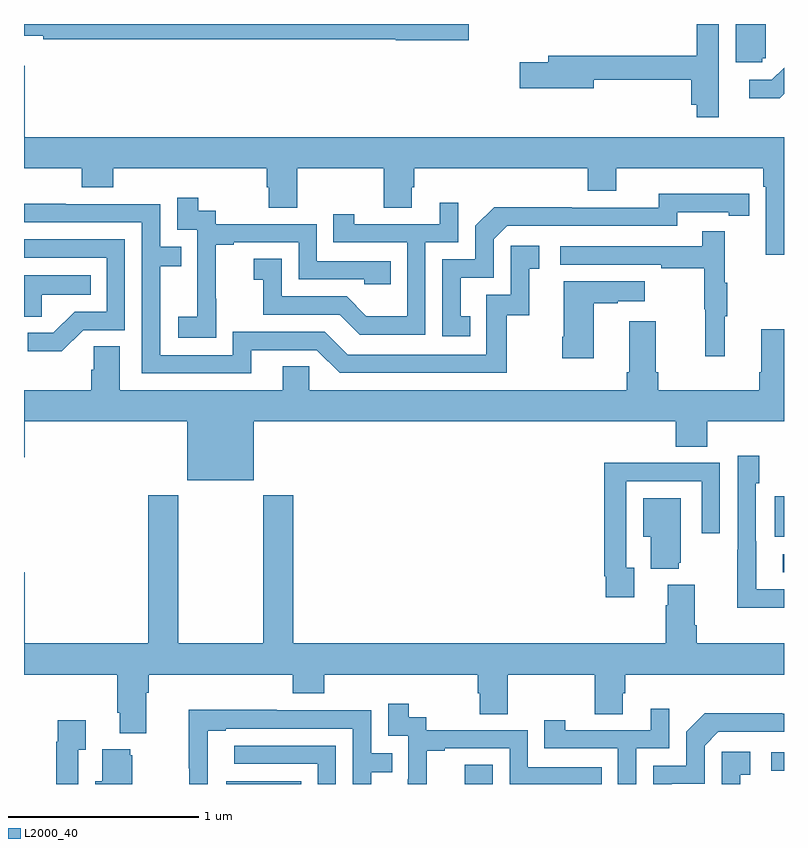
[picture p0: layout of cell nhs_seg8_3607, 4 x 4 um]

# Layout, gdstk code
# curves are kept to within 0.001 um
import gdstk
lib = gdstk.Library(unit=1e-6, precision=1e-09)
def R(c, l, rs):  # rectangles x0, y0, x1, y1
    for r in rs: c.add(gdstk.rectangle(r[:2], r[2:], *l))
def P(c, l, *ps):  # polygons
    for p in ps: c.add(gdstk.Polygon(p, *l))
L2000_40 = (2000, 40)

nhs_seg8_3607 = lib.new_cell('nhs_seg8_3607')
R(nhs_seg8_3607, L2000_40, [(334.064,1139.9,334.46,1139.914), (335.319,1139.9,335.466,1140.001), (336.933,1139.97,337,1140.066), (336.993,1141.014,337,1141.11), (336.95,1141.202,337,1141.414)])
P(nhs_seg8_3607, L2000_40, [(336.657,1143.9),(336.541,1143.9),(336.541,1143.734),(335.759,1143.734),(335.759,1143.698),(335.61,1143.698),(335.61,1143.563),(335.998,1143.563),(335.998,1143.606),(336.512,1143.606),(336.512,1143.476),(336.541,1143.476),(336.541,1143.408),(336.657,1143.408)],
  [(336.885,1143.72),(336.904,1143.72),(336.904,1143.9),(336.746,1143.9),(336.746,1143.699),(336.885,1143.699)],
  [(335.341,1143.9),(333,1143.9),(333,1143.839),(333.1,1143.839),(333.1,1143.82),(334.956,1143.82),(334.956,1143.815),(335.341,1143.815)],
  [(337,1143.304),(333.004,1143.304),(333.004,1143.679),(333,1143.679),(333,1143.14),(333.305,1143.14),(333.305,1143.041),(333.47,1143.041),(333.47,1143.14),(334.277,1143.14),(334.277,1143.042),(334.289,1143.042),(334.289,1142.932),(334.437,1142.932),(334.437,1143.14),(334.894,1143.14),(334.894,1142.932),(335.041,1142.932),(335.041,1143.042),(335.054,1143.042),(335.054,1143.14),(335.966,1143.14),(335.966,1143.023),(336.118,1143.023),(336.118,1143.14),(336.89,1143.14),(336.89,1143.044),(336.903,1143.044),(336.903,1142.685),(337,1142.685)],
  [(337,1143.532),(337,1143.67),(336.936,1143.606),(336.816,1143.606),(336.816,1143.509),(336.977,1143.509)],
  [(335.348,1142.361),(335.299,1142.361),(335.299,1142.565),(335.472,1142.565),(335.472,1142.766),(335.544,1142.838),(336.438,1142.838),(336.438,1142.91),(336.71,1142.91),(336.71,1142.89),(336.818,1142.89),(336.818,1143.006),(336.342,1143.007),(336.342,1142.934),(335.882,1142.934),(335.882,1142.936),(335.474,1142.936),(335.376,1142.838),(335.376,1142.661),(335.202,1142.661),(335.202,1142.256),(335.348,1142.256)],
  [(334.011,1142.455),(334.01,1142.455),(334.01,1142.739),(334.105,1142.739),(334.105,1142.751),(334.446,1142.751),(334.446,1142.556),(334.791,1142.556),(334.791,1142.529),(334.931,1142.529),(334.931,1142.652),(334.542,1142.652),(334.542,1142.847),(334.008,1142.847),(334.008,1142.916),(333.916,1142.916),(333.916,1142.986),(333.807,1142.986),(333.807,1142.817),(333.912,1142.817),(333.912,1142.588),(333.911,1142.588),(333.911,1142.359),(333.813,1142.359),(333.813,1142.249),(334.011,1142.249)],
  [(335.112,1142.751),(335.286,1142.751),(335.286,1142.959),(335.189,1142.959),(335.189,1142.847),(334.738,1142.847),(334.738,1142.899),(334.627,1142.899),(334.627,1142.751),(335.016,1142.751),(335.016,1142.362),(334.802,1142.362),(334.698,1142.466),(334.356,1142.466),(334.356,1142.665),(334.209,1142.665),(334.209,1142.555),(334.258,1142.555),(334.258,1142.37),(334.661,1142.37),(334.766,1142.265),(335.112,1142.265)],
  [(334.195,1142.184),(334.542,1142.184),(334.662,1142.064),(335.542,1142.064),(335.542,1142.367),(335.66,1142.367),(335.66,1142.613),(335.713,1142.613),(335.713,1142.734),(335.562,1142.734),(335.562,1142.475),(335.433,1142.475),(335.433,1142.16),(334.704,1142.16),(334.584,1142.28),(334.098,1142.28),(334.098,1142.157),(333.717,1142.157),(333.717,1142.626),(333.827,1142.626),(333.827,1142.727),(333.717,1142.727),(333.717,1142.952),(333.221,1142.952),(333.221,1142.954),(333,1142.954),(333,1142.856),(333.621,1142.856),(333.621,1142.061),(334.195,1142.061)],
  [(336.689,1142.363),(336.7,1142.363),(336.7,1142.537),(336.689,1142.537),(336.689,1142.809),(336.571,1142.809),(336.571,1142.73),(335.823,1142.73),(335.823,1142.634),(336.355,1142.634),(336.355,1142.614),(336.579,1142.614),(336.579,1142.4),(336.586,1142.4),(336.586,1142.151),(336.689,1142.151)],
  [(333.312,1142.289),(333.531,1142.289),(333.531,1142.766),(333,1142.766),(333,1142.67),(333.435,1142.67),(333.435,1142.385),(333.266,1142.385),(333.155,1142.274),(333.021,1142.274),(333.021,1142.177),(333.199,1142.177)],
  [(333.093,1142.474),(333.35,1142.474),(333.35,1142.578),(333,1142.578),(333,1142.359),(333.093,1142.359)],
  [(335.998,1142.431),(336.125,1142.431),(336.125,1142.441),(336.268,1142.441),(336.268,1142.545),(335.84,1142.545),(335.84,1142.254),(335.833,1142.254),(335.833,1142.142),(335.998,1142.142)],
  [(334.21,1141.808),(336.431,1141.808),(336.431,1141.675),(336.596,1141.675),(336.596,1141.808),(337,1141.808),(337,1142.293),(336.881,1142.293),(336.881,1142.068),(336.869,1142.068),(336.869,1141.972),(336.338,1141.972),(336.338,1142.068),(336.325,1142.068),(336.325,1142.335),(336.185,1142.335),(336.185,1142.068),(336.173,1142.068),(336.173,1141.972),(334.5,1141.972),(334.5,1142.099),(334.361,1142.099),(334.361,1141.972),(333.505,1141.972),(333.505,1142.204),(333.366,1142.204),(333.366,1142.081),(333.353,1142.081),(333.353,1141.972),(333,1141.972),(333,1141.62),(333.004,1141.62),(333.004,1141.808),(333.86,1141.808),(333.86,1141.499),(334.21,1141.499)],
  [(337,1140.924),(336.853,1140.924),(336.853,1141.178),(336.852,1141.178),(336.852,1141.482),(336.871,1141.482),(336.871,1141.627),(336.756,1141.627),(336.756,1141.133),(336.754,1141.133),(336.754,1140.827),(337,1140.827)],
  [(336.211,1141.038),(336.171,1141.038),(336.171,1141.494),(336.567,1141.494),(336.567,1141.221),(336.663,1141.221),(336.663,1141.59),(336.347,1141.59),(336.347,1141.592),(336.055,1141.592),(336.055,1140.994),(336.063,1140.994),(336.063,1140.882),(336.211,1140.882)],
  [(333.004,1141.015),(333,1141.015),(333,1140.476),(333.491,1140.476),(333.491,1140.274),(333.503,1140.274),(333.503,1140.167),(333.643,1140.167),(333.643,1140.38),(333.656,1140.38),(333.656,1140.476),(334.415,1140.476),(334.415,1140.377),(334.58,1140.377),(334.58,1140.476),(335.387,1140.476),(335.387,1140.378),(335.399,1140.378),(335.399,1140.268),(335.547,1140.268),(335.547,1140.476),(336.004,1140.476),(336.004,1140.268),(336.151,1140.268),(336.151,1140.378),(336.164,1140.378),(336.164,1140.476),(337,1140.476),(337,1140.64),(336.542,1140.64),(336.542,1140.736),(336.529,1140.736),(336.529,1140.949),(336.389,1140.949),(336.389,1140.842),(336.377,1140.842),(336.377,1140.64),(334.418,1140.64),(334.418,1141.42),(334.258,1141.42),(334.258,1140.64),(333.813,1140.64),(333.813,1141.42),(333.653,1141.42),(333.653,1140.64),(333.004,1140.64)],
  [(336.446,1141.065),(336.457,1141.065),(336.457,1141.405),(336.26,1141.405),(336.26,1141.202),(336.299,1141.202),(336.299,1141.034),(336.446,1141.034)],
  [(335.12,1140.075),(335.215,1140.075),(335.215,1140.087),(335.556,1140.087),(335.556,1139.9),(336.041,1139.9),(336.041,1139.988),(335.652,1139.988),(335.652,1140.183),(335.118,1140.183),(335.118,1140.252),(335.026,1140.252),(335.026,1140.322),(334.917,1140.322),(334.917,1140.153),(335.022,1140.153),(335.022,1139.924),(335.021,1139.924),(335.021,1139.9),(335.12,1139.9)],
  [(336.222,1140.087),(336.396,1140.087),(336.396,1140.295),(336.299,1140.295),(336.299,1140.183),(335.848,1140.183),(335.848,1140.235),(335.737,1140.235),(335.737,1140.087),(336.126,1140.087),(336.126,1139.9),(336.222,1139.9)],
  [(333.966,1140.18),(334.063,1140.18),(334.063,1140.192),(334.731,1140.192),(334.731,1139.9),(334.827,1139.9),(334.827,1139.962),(334.937,1139.962),(334.937,1140.063),(334.827,1140.063),(334.827,1140.288),(334.331,1140.288),(334.331,1140.29),(333.868,1140.29),(333.868,1139.983),(333.87,1139.983),(333.87,1139.9),(333.966,1139.9)],
  [(336.409,1139.901),(336.582,1139.901),(336.582,1140.102),(336.654,1140.174),(337,1140.174),(337,1140.27),(336.992,1140.27),(336.992,1140.272),(336.584,1140.272),(336.486,1140.174),(336.486,1139.997),(336.312,1139.997),(336.312,1139.9)],
  [(333.285,1140.079),(333.325,1140.079),(333.325,1140.235),(333.177,1140.235),(333.177,1140.122),(333.169,1140.122),(333.169,1139.9),(333.285,1139.9)],
  [(334.641,1140.102),(334.107,1140.102),(334.107,1140.006),(334.545,1140.006),(334.545,1139.9),(334.641,1139.9)],
  [(333.571,1140.051),(333.56,1140.051),(333.56,1140.082),(333.413,1140.082),(333.413,1139.914),(333.374,1139.914),(333.374,1139.9),(333.571,1139.9)],
  [(336.77,1139.949),(336.823,1139.949),(336.823,1140.07),(336.672,1140.07),(336.672,1139.9),(336.77,1139.9)])

lib.write_gds('nhs_seg8_3607.gds')
